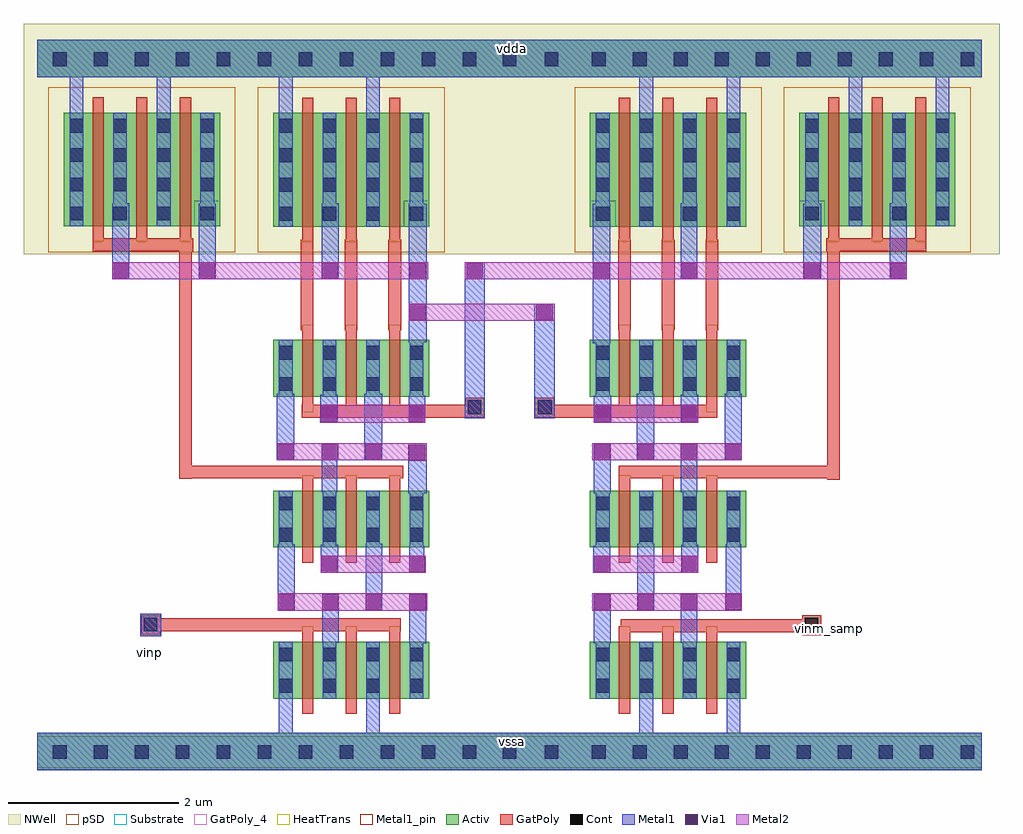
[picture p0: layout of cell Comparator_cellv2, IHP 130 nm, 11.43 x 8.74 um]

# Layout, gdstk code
from math import pi, radians
import gdstk
lib = gdstk.Library(unit=1e-6, precision=1e-09)
def R(c, l, rs):  # rectangles x0, y0, x1, y1
    for r in rs: c.add(gdstk.rectangle(r[:2], r[2:], *l))
def A(c, l, x, y, w, h, nx, ny, dx, dy):  # array of equal rectangles
    R(c, l, [(x+i*dx, y+j*dy, x+i*dx+w, y+j*dy+h) for i in range(nx) for j in range(ny)])
def P(c, l, *ps):  # polygons
    for p in ps: c.add(gdstk.Polygon(p, *l))
Activ = (1, 0)
GatPoly = (5, 0)
GatPoly_4 = (5, 4)
Cont = (6, 0)
Metal1 = (8, 0)
Metal1_pin = (8, 2)
Metal2 = (10, 0)
pSD = (14, 0)
Via1 = (19, 0)
NWell = (31, 0)
Substrate = (40, 0)
HeatTrans = (51, 0)

pmos = lib.new_cell('pmos')
A(pmos, Activ, 0, 0, 0.3, 0.3, 4, 1, 0.51, 0)
R(pmos, Activ, [(0,0,1.83,1.33)])
A(pmos, GatPoly, 0.34, -0.18, 0.13, 1.69, 3, 1, 0.51, 0)
R(pmos, GatPoly, [(0.34,-0.18,0.47,1.51), (0.34,-0.18,0.47,1.51)])
A(pmos, Cont, 0.07, 0.07, 0.16, 0.16, 4, 2, 0.51, 0.34)
A(pmos, Cont, 0.07, 0.755, 0.16, 0.16, 4, 2, 0.51, 0.345)
A(pmos, Metal1, 0.58, 0, 0.16, 1.33, 3, 1, 0.51, 0)
R(pmos, Metal1, [(0.07,0,0.23,1.33), (0.07,0,0.23,1.33), (0.07,0,0.23,1.33), (0.58,0,0.74,1.33), (0.58,0,0.74,1.33)])
R(pmos, pSD, [(-0.18,-0.3,2.01,1.63)])
R(pmos, NWell, [(-0.31,-0.31,2.14,1.64)])
R(pmos, Substrate, [(1.53,0,1.83,0.3), (1.53,0,1.83,0.3)])
A(pmos, HeatTrans, 0.34, -0.18, 0.13, 1.69, 3, 1, 0.51, 0)
pmos.add(gdstk.Label('pmos', (0.405,0.665), layer=63, texttype=0))
pmos.add(gdstk.Label('pmos', (0.405,0.665), layer=51, texttype=0))
pmos.add(gdstk.Label('pmos', (0.915,0.665), layer=51, texttype=0))
pmos.add(gdstk.Label('pmos', (1.425,0.665), layer=51, texttype=0))

nmos = lib.new_cell('nmos')
A(nmos, Activ, 0, 0, 0.3, 0.3, 4, 1, 0.51, 0)
R(nmos, Activ, [(0,0,1.83,0.665)])
A(nmos, GatPoly, 0.34, -0.18, 0.13, 1.025, 3, 1, 0.51, 0)
R(nmos, GatPoly_4, [(0.34,-0.18,0.47,0.845), (0.34,-0.18,0.47,0.845)])
A(nmos, Cont, 0.07, 0.07, 0.16, 0.16, 4, 2, 0.51, 0.365)
A(nmos, Metal1, 0.07, 0, 0.16, 0.665, 4, 1, 0.51, 0)
R(nmos, Metal1_pin, [(0.07,0,0.23,0.665), (0.07,0,0.23,0.665), (0.58,0,0.74,0.665), (0.58,0,0.74,0.665)])
A(nmos, HeatTrans, 0.34, -0.18, 0.13, 1.025, 3, 1, 0.51, 0)
nmos.add(gdstk.Label('nmos', (0.405,0.333), layer=51, texttype=0))
nmos.add(gdstk.Label('nmos', (0.915,0.333), layer=51, texttype=0))
nmos.add(gdstk.Label('nmos', (1.425,0.333), layer=51, texttype=0))

comparator_cellv2 = lib.new_cell('Comparator_cellv2')
R(comparator_cellv2, Activ, [(0.162,0,11.223,0.44), (0.162,8.113,11.223,8.553)])
R(comparator_cellv2, GatPoly, [(9.12,1.583,9.343,1.814), (1.38,1.586,1.603,1.817), (6.995,1.617,9.246,1.767), (1.48,1.627,4.416,1.777), (9.412,3.399,9.562,6.21), (1.822,3.414,1.972,6.225), (1.822,3.417,4.445,3.567), (6.973,3.417,9.562,3.567), (6.146,4.129,8.123,4.279), (3.261,4.13,5.238,4.28), (5.172,4.13,5.395,4.361), (5.99,4.13,6.213,4.361), (3.246,5.153,3.396,6.21), (3.761,5.153,3.911,6.21), (4.271,5.153,4.421,6.21), (6.964,5.153,7.114,6.21), (7.474,5.153,7.624,6.21), (7.989,5.153,8.139,6.21), (0.812,6.078,1.986,6.228), (9.399,6.078,10.573,6.228)])
A(comparator_cellv2, Cont, 0.344, 0.133, 0.16, 0.16, 11, 2, 0.48, 8.113)
A(comparator_cellv2, Cont, 6.657, 0.133, 0.16, 0.16, 10, 2, 0.48, 8.113)
R(comparator_cellv2, Cont, [(5.611,0.133,5.771,0.293), (6.104,0.133,6.264,0.293), (9.149,1.623,9.309,1.783), (9.149,1.623,9.309,1.783), (1.409,1.626,1.569,1.786), (5.201,4.17,5.361,4.33), (6.024,4.17,6.184,4.33), (5.611,8.246,5.771,8.406), (6.104,8.246,6.264,8.406)])
R(comparator_cellv2, Metal1, [(4.517,1.485,4.717,2.071), (6.678,1.486,6.876,2.072), (3.496,1.493,3.693,2.062), (7.697,1.494,7.892,2.069), (1.367,1.568,1.616,1.833), (2.975,1.869,3.174,2.646), (7.189,1.87,7.385,2.651), (4.006,1.871,4.201,2.65), (8.224,1.885,8.404,2.647), (3.484,2.31,3.684,2.639), (7.705,2.311,7.9,2.64), (4.515,2.312,4.695,2.626), (6.671,2.313,6.873,2.627), (4.505,3.245,4.723,3.828), (6.676,3.245,6.878,3.831), (3.493,3.253,3.673,3.822), (7.7,3.253,7.892,3.828), (2.968,3.629,3.171,4.406), (7.184,3.629,7.386,4.41), (8.214,3.629,8.413,4.406), (3.991,3.631,4.201,4.41), (3.475,4.07,3.682,4.399), (7.7,4.07,7.904,4.399), (4.512,4.072,4.705,4.386), (6.679,4.072,6.881,4.386), (5.165,4.122,5.404,5.946), (5.981,4.122,6.22,5.464), (6.666,4.998,6.872,6.634), (4.513,5.012,4.72,6.634), (1.04,5.747,1.236,6.637), (3.492,5.747,3.69,6.637), (7.696,5.747,7.893,6.637), (9.134,5.747,9.342,6.634), (10.144,5.747,10.345,6.637), (2.053,5.754,2.251,6.634)])
P(comparator_cellv2, Metal1, [(7.213,7.627),(7.213,8.113),(6.863,8.113),(6.703,8.113),(5.782,8.113),(5.602,8.113),(4.682,8.113),(4.522,8.113),(4.172,8.113),(4.172,7.657),(4.012,7.657),(4.012,8.113),(3.662,8.113),(3.502,8.113),(3.152,8.113),(3.152,7.641),(2.992,7.641),(2.992,8.113),(2.245,8.113),(2.072,8.113),(1.722,8.113),(1.722,7.657),(1.562,7.657),(1.562,8.113),(1.212,8.113),(1.052,8.113),(0.702,8.113),(0.702,7.661),(0.542,7.661),(0.542,8.113),(0.162,8.113),(0.162,8.553),(11.223,8.553),(11.223,8.113),(10.843,8.113),(10.843,7.657),(10.683,7.657),(10.683,8.113),(10.333,8.113),(10.173,8.113),(9.823,8.113),(9.823,7.641),(9.663,7.641),(9.663,8.113),(9.313,8.113),(9.153,8.113),(8.393,8.113),(8.393,7.653),(8.233,7.653),(8.233,8.113),(7.883,8.113),(7.723,8.113),(7.373,8.113),(7.373,7.627)],
  [(0.162,0),(0.162,0.44),(2.992,0.44),(2.992,0.881),(3.152,0.881),(3.152,0.44),(3.502,0.44),(3.662,0.44),(4.012,0.44),(4.012,0.881),(4.172,0.881),(4.172,0.44),(4.522,0.44),(4.682,0.44),(6.703,0.44),(6.863,0.44),(7.213,0.44),(7.213,0.876),(7.373,0.876),(7.373,0.44),(7.723,0.44),(7.883,0.44),(8.233,0.44),(8.233,0.88),(8.393,0.88),(8.393,0.44),(11.223,0.44),(11.223,0)])
R(comparator_cellv2, Metal1_pin, [(0.162,0.003,11.223,0.44), (0.162,8.113,11.223,8.553)])
R(comparator_cellv2, Metal2, [(2.975,1.869,4.726,2.071), (6.662,1.87,8.413,2.072), (3.484,2.31,4.708,2.512), (6.68,2.311,7.904,2.513), (2.972,3.629,4.723,3.831), (6.662,3.629,8.413,3.831), (3.481,4.07,4.705,4.272), (6.68,4.07,7.904,4.272), (4.509,5.263,6.22,5.465), (1.04,5.747,4.741,5.949), (5.17,5.747,10.345,5.949)])
R(comparator_cellv2, pSD, [(0.162,0.029,11.223,0.397)])
R(comparator_cellv2, Via1, [(6.682,1.871,6.872,2.061), (2.978,1.873,3.168,2.063), (4.519,1.873,4.709,2.063), (8.22,1.874,8.41,2.064), (3.498,1.875,3.688,2.065), (4.006,1.875,4.196,2.065), (7.192,1.876,7.382,2.066), (7.7,1.876,7.89,2.066), (3.487,2.314,3.677,2.504), (7.711,2.315,7.901,2.505), (4.515,2.316,4.705,2.506), (6.683,2.317,6.873,2.507), (4.514,3.624,4.704,3.814), (6.682,3.632,6.872,3.822), (2.975,3.633,3.165,3.823), (8.22,3.633,8.41,3.823), (3.495,3.635,3.685,3.825), (4.003,3.635,4.193,3.825), (7.192,3.635,7.382,3.825), (7.7,3.635,7.89,3.825), (3.484,4.074,3.674,4.264), (7.711,4.074,7.901,4.264), (4.512,4.076,4.702,4.266), (6.683,4.076,6.873,4.266), (6.007,5.269,6.197,5.459), (6.007,5.269,6.197,5.459), (4.519,5.275,4.709,5.465), (4.519,5.275,4.709,5.465), (4.521,5.753,4.711,5.943), (4.521,5.753,4.711,5.943), (5.189,5.753,5.379,5.943), (6.674,5.753,6.864,5.943), (6.674,5.753,6.864,5.943), (1.041,5.755,1.231,5.945), (1.041,5.755,1.231,5.945), (1.041,5.755,1.231,5.945), (1.041,5.755,1.231,5.945), (3.493,5.755,3.683,5.945), (3.493,5.755,3.683,5.945), (3.493,5.755,3.683,5.945), (3.493,5.755,3.683,5.945), (3.493,5.755,3.683,5.945), (7.702,5.755,7.892,5.945), (7.702,5.755,7.892,5.945), (7.702,5.755,7.892,5.945), (7.702,5.755,7.892,5.945), (7.702,5.755,7.892,5.945), (10.154,5.755,10.344,5.945), (10.154,5.755,10.344,5.945), (10.154,5.755,10.344,5.945), (10.154,5.755,10.344,5.945), (2.056,5.759,2.246,5.949), (9.139,5.759,9.329,5.949)])
R(comparator_cellv2, NWell, [(0,6.042,11.43,8.741)])
comparator_cellv2.add(gdstk.Reference(pmos, (2.922,6.367)))
comparator_cellv2.add(gdstk.Reference(nmos, (2.922,2.608)))
comparator_cellv2.add(gdstk.Reference(nmos, (2.922,4.374)))
comparator_cellv2.add(gdstk.Reference(nmos, (2.922,0.839)))
comparator_cellv2.add(gdstk.Reference(pmos, (0.472,6.368)))
comparator_cellv2.add(gdstk.Reference(pmos, (8.463,6.367), rotation=pi, x_reflection=True))
comparator_cellv2.add(gdstk.Reference(nmos, (8.463,0.839), rotation=pi, x_reflection=True))
comparator_cellv2.add(gdstk.Reference(nmos, (8.463,4.374), rotation=pi, x_reflection=True))
comparator_cellv2.add(gdstk.Reference(nmos, (8.463,2.608), rotation=pi, x_reflection=True))
comparator_cellv2.add(gdstk.Reference(pmos, (10.913,6.368), rotation=pi, x_reflection=True))
comparator_cellv2.add(gdstk.Label('vinp', (1.481,1.381), layer=8, texttype=25))
comparator_cellv2.add(gdstk.Label('vinm_samp', (9.441,1.657), layer=8, texttype=25))
comparator_cellv2.add(gdstk.Label('vssa', (5.711,0.335), layer=8, texttype=25))
comparator_cellv2.add(gdstk.Label('vdda', (5.711,8.448), layer=8, texttype=25))

lib.write_gds('Comparator_cellv2.gds')
